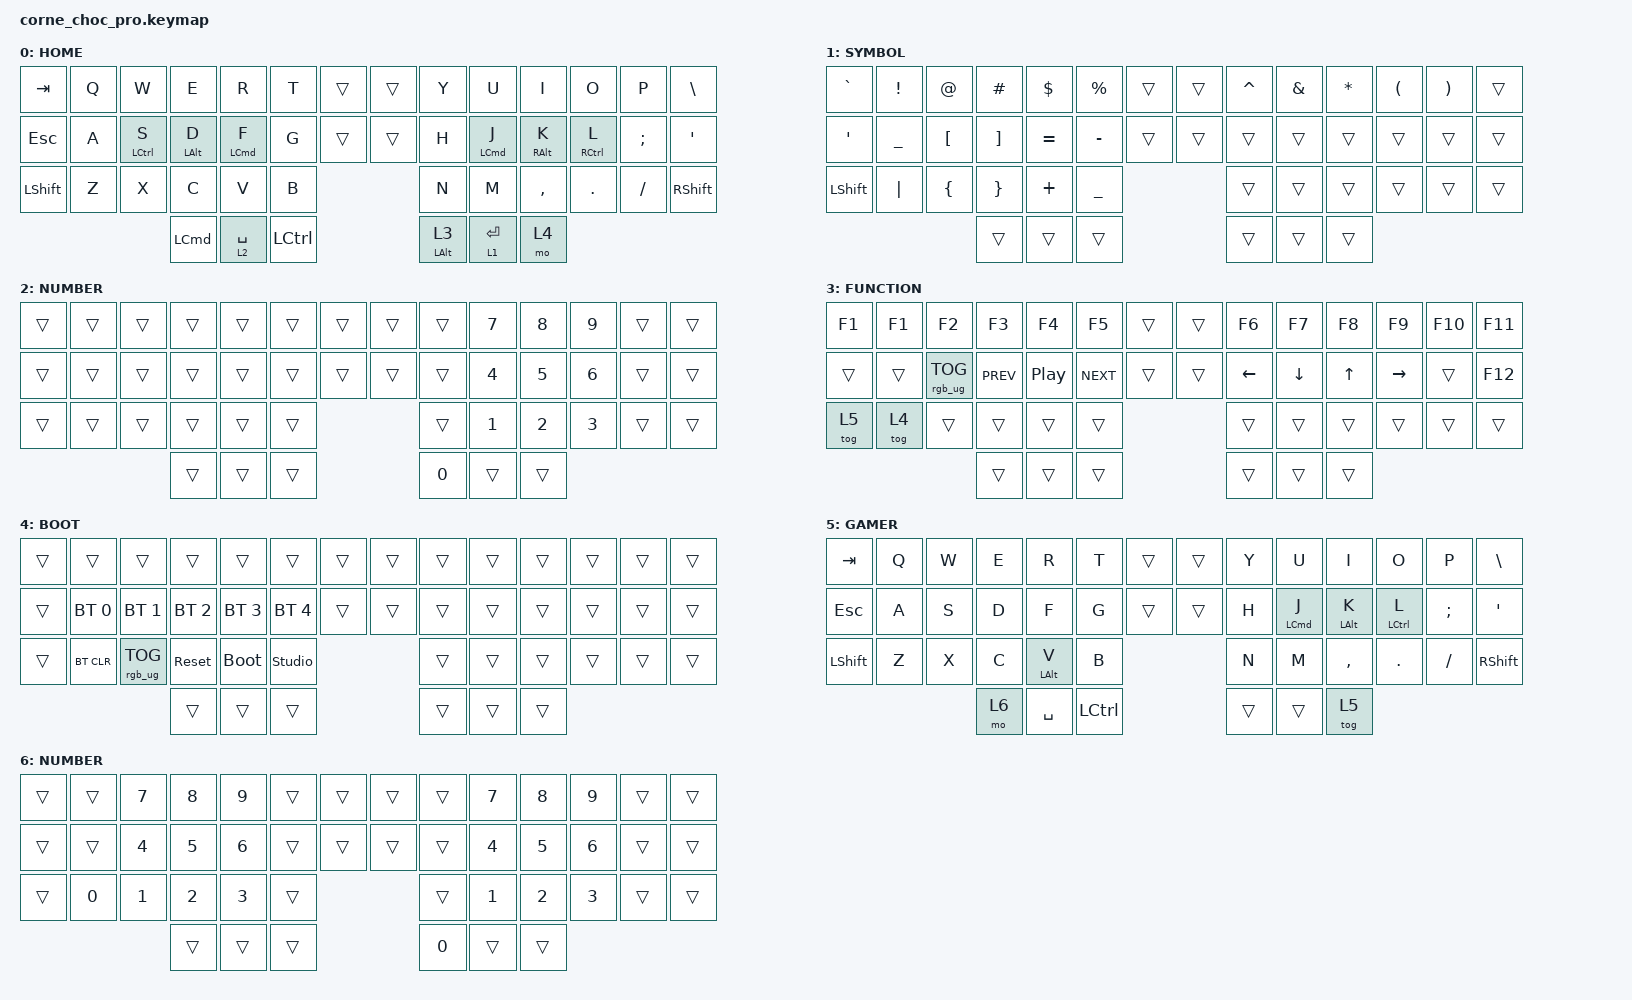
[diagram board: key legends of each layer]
/*
 * Copyright (c) 2020 The ZMK Contributors
 *
 * SPDX-License-Identifier: MIT
 */

#include <behaviors.dtsi>
#include <dt-bindings/zmk/bt.h>
#include <dt-bindings/zmk/keys.h>
#include <dt-bindings/zmk/rgb.h>

/ {
    chosen { zmk,physical-layout = &default_layout; };
};

/ {
    combos { compatible = "zmk,combos"; };

    behaviors {
        hml: homerow_mods_left {
            compatible = "zmk,behavior-hold-tap";
            label = "HOMEROW_MODS_LEFT_HAND";
            bindings = <&kp>, <&kp>;

            #binding-cells = <2>;
            tapping-term-ms = <175>;
            hold-trigger-key-positions = <7 8 9 10 11 12 13 21 22 23 24 25 26 27 34 35 36 37 38 39 43 44 45>;
            flavor = "tap-preferred";
            quick-tap-ms = <175>;
        };

        hmr: homewrow_mods_right {
            compatible = "zmk,behavior-hold-tap";
            label = "HOMEROW_MODS_RIGHT_HAND";
            bindings = <&kp>, <&kp>;

            #binding-cells = <2>;
            tapping-term-ms = <175>;
            hold-trigger-key-positions = <0 1 2 3 4 5 6 14 15 16 17 18 19 20 28 29 30 31 32 33 40 41 42>;
            flavor = "tap-preferred";
            quick-tap-ms = <175>;
        };

        hold_layer: hold_layer {
            compatible = "zmk,behavior-hold-tap";
            label = "HOLD_LAYER";
            bindings = <&mo>, <&kp>;

            #binding-cells = <2>;
            tapping-term-ms = <200>;
        };

        bksp: bksp {
            compatible = "zmk,behavior-hold-tap";
            label = "BKSP";
            bindings = <&kp>, <&mo>;

            #binding-cells = <2>;
            tapping-term-ms = <140>;
            hold-trigger-key-positions = <0 1 2 3 4 5 6 14 15 16 17 18 19 20 28 29 30 31 32 33 40 41 42 8>;
            flavor = "balanced";
            quick-tap-ms = <140>;
        };
    };

    keymap {
        compatible = "zmk,keymap";

        default_layer {
            display-name = "HOME";

            // --------------------------------------------------------------------------------
            // |  TAB |  Q  |  W  |  E  |  R  |  T  |  MUTE |  PP   |  Y  |  U   |  I  |  O  |  P  | BSPC |
            // | CTRL |  A  |  S  |  D  |  F  |  G  |  LALT |  RALT |  H  |  J   |  K  |  L  |  ;  |  '   |
            // | SHFT |  Z  |  X  |  C  |  V  |  B  |               |  N  |  M   |  ,  |  .  |  /  | ESC  |
            //                    | GUI | LWR | SPC |               | ENT | RSE  | ALT |

            bindings = <
&kp TAB    &kp Q  &kp W                &kp E             &kp R                &kp T      &trans  &trans  &kp Y             &kp U                &kp I             &kp O         &kp P     &kp BACKSLASH
&kp ESC    &kp A  &hml LEFT_CONTROL S  &hml LEFT_ALT D   &hml LEFT_COMMAND F  &kp G      &trans  &trans  &kp H             &hmr LEFT_COMMAND J  &hmr RIGHT_ALT K  &hmr RCTRL L  &kp SEMI  &kp SQT
&kp LSHFT  &kp Z  &kp X                &kp C             &kp V                &kp B                      &kp N             &kp M                &kp COMMA         &kp DOT       &kp FSLH  &kp RIGHT_SHIFT
                                       &kp LEFT_COMMAND  &hold_layer 2 SPACE  &kp LCTRL                  &bksp LEFT_ALT 3  &hold_layer 1 ENTER  &mo 4
            >;
        };

        sym {
            display-name = "SYMBOL";

            // -----------------------------------------------------------------------------------------
            // |  TAB |  !  |  @  |  #  |  $  |  %  | LCTRL | RCTRL |  ^  |  &  |  *  |  (  |  )  | BSPC |
            // | CTRL |     |     |     |     |     |  LALT | RALT  |  -  |  =  |  [  |  ]  |  \  |  `   |
            // | SHFT |     |     |     |     |     |               |  _  |  +  |  {  |  }  | "|" |  ~   |
            //                    | GUI |     | SPC |               | ENT |     | ALT |

            bindings = <
&kp GRAVE       &kp EXCL        &kp AT          &kp HASH         &kp DLLR   &kp PRCNT       &trans  &trans  &kp CARET  &kp AMPS  &kp ASTRK  &kp LPAR  &kp RPAR  &trans
&kp APOS        &kp UNDERSCORE  &kp LBKT        &kp RBKT         &kp EQUAL  &kp MINUS       &trans  &trans  &trans     &trans    &trans     &trans    &trans    &trans
&kp LEFT_SHIFT  &kp PIPE        &kp LEFT_BRACE  &kp RIGHT_BRACE  &kp PLUS   &kp UNDERSCORE                  &trans     &trans    &trans     &trans    &trans    &trans
                                                &trans           &trans     &trans                          &trans     &trans    &trans
            >;
        };

        number {
            display-name = "NUMBER";
            bindings = <
&trans  &trans  &trans  &trans  &trans  &trans  &trans  &trans  &trans  &kp N7  &kp N8  &kp N9  &trans  &trans
&trans  &trans  &trans  &trans  &trans  &trans  &trans  &trans  &trans  &kp N4  &kp N5  &kp N6  &trans  &trans
&trans  &trans  &trans  &trans  &trans  &trans                  &trans  &kp N1  &kp N2  &kp N3  &trans  &trans
                        &trans  &trans  &trans                  &kp N0  &trans  &trans
            >;
        };

        function {
            display-name = "FUNCTION";
            bindings = <
&kp F1  &kp F1  &kp F2           &kp F3      &kp F4            &kp F5      &trans  &trans  &kp F6    &kp F7    &kp F8  &kp F9     &kp F10  &kp F11
&trans  &trans  &rgb_ug RGB_TOG  &kp C_PREV  &kp C_PLAY_PAUSE  &kp C_NEXT  &trans  &trans  &kp LEFT  &kp DOWN  &kp UP  &kp RIGHT  &trans   &kp F12
&tog 5  &tog 4  &trans           &trans      &trans            &trans                      &trans    &trans    &trans  &trans     &trans   &trans
                                 &trans      &trans            &trans                      &trans    &trans    &trans
            >;
        };

        boot {
            display-name = "BOOT";

            // -----------------------------------------------------------------------------------------
            // |  TAB |  1  |  2  |  3  |  4  |  5    |  LCTRL | RCTRL |  6  |  7  |  8  |  9  |  0  | BSPC |
            // | CTRL | BT1 | BT2 | BT3 | BT4 | BT5   |  LALT  | RALT  | LFT | DWN |  UP | RGT |     |      |
            // | SHFT | BTCR| RGB | RST | BOOT| Unlock|        |       |     |     |     |     |     |      |
            //                    | GUI |     | SPC   |        | ENT   |     | ALT |

            bindings = <
&trans  &trans        &trans           &trans        &trans        &trans          &trans  &trans  &trans  &trans  &trans  &trans  &trans  &trans
&trans  &bt BT_SEL 0  &bt BT_SEL 1     &bt BT_SEL 2  &bt BT_SEL 3  &bt BT_SEL 4    &trans  &trans  &trans  &trans  &trans  &trans  &trans  &trans
&trans  &bt BT_CLR    &rgb_ug RGB_TOG  &sys_reset    &bootloader   &studio_unlock                  &trans  &trans  &trans  &trans  &trans  &trans
                                       &trans        &trans        &trans                          &trans  &trans  &trans
            >;
        };

        gamer {
            display-name = "GAMER";
            bindings = <
&kp TAB     &kp Q  &kp W  &kp E  &kp R            &kp T      &trans  &trans  &kp Y   &kp U                &kp I            &kp O                &kp P     &kp BSLH
&kp ESCAPE  &kp A  &kp S  &kp D  &kp F            &kp G      &trans  &trans  &kp H   &hmr LEFT_COMMAND J  &hmr LEFT_ALT K  &hmr LEFT_CONTROL L  &kp SEMI  &kp SQT
&kp LSHFT   &kp Z  &kp X  &kp C  &hml LEFT_ALT V  &kp B                      &kp N   &kp M                &kp COMMA        &kp DOT              &kp FSLH  &kp RIGHT_SHIFT
                          &mo 6  &kp SPACE        &kp LCTRL                  &trans  &trans               &tog 5
            >;
        };

        game_numpad {
            display-name = "NUMBER";
            bindings = <
&trans  &trans  &kp N7        &kp N8        &kp N9        &trans  &trans  &trans  &trans  &kp N7        &kp N8        &kp N9  &trans  &trans
&trans  &trans  &kp N4        &kp N5        &kp N6        &trans  &trans  &trans  &trans  &kp N4        &kp N5        &kp N6  &trans  &trans
&trans  &kp N0  &kp NUMBER_1  &kp NUMBER_2  &kp NUMBER_3  &trans                  &trans  &kp NUMBER_1  &kp NUMBER_2  &kp N3  &trans  &trans
                              &trans        &trans        &trans                  &kp N0  &trans        &trans
            >;
        };
    };
};
